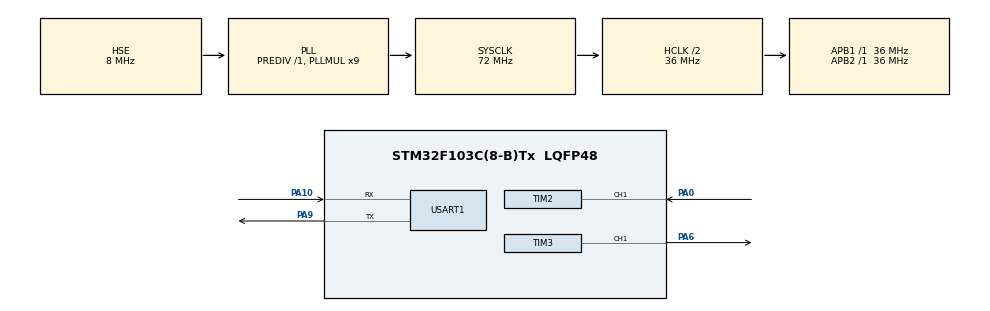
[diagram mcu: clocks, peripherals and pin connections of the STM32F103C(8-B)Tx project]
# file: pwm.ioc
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Mcu.Family=STM32F1
Mcu.Name=STM32F103C(8-B)Tx
Mcu.Package=LQFP48
NVIC.PriorityGroup=NVIC_PRIORITYGROUP_4
NVIC.TIM2_IRQn=true\:0\:0\:false\:false\:true\:true\:true\:true
PA0-WKUP.Signal=S_TIM2_CH1_ETR
PA10.Mode=Asynchronous
PA10.Signal=USART1_RX
PA13.Mode=Serial_Wire
PA13.Signal=SYS_JTMS-SWDIO
PA14.Mode=Serial_Wire
PA14.Signal=SYS_JTCK-SWCLK
PA6.Signal=S_TIM3_CH1
PA9.Mode=Asynchronous
PA9.Signal=USART1_TX
PD0-OSC_IN.Mode=HSE-External-Oscillator
PD0-OSC_IN.Signal=RCC_OSC_IN
PD1-OSC_OUT.Mode=HSE-External-Oscillator
PD1-OSC_OUT.Signal=RCC_OSC_OUT
ProjectManager.HeapSize=0x200
ProjectManager.StackSize=0x400
ProjectManager.TargetToolchain=STM32CubeIDE
RCC.AHBCLKDivider=RCC_SYSCLK_DIV2
RCC.AHBFreq_Value=36000000
RCC.APB1Freq_Value=36000000
RCC.APB1TimFreq_Value=36000000
RCC.APB2Freq_Value=36000000
RCC.APB2TimFreq_Value=36000000
RCC.HCLKFreq_Value=36000000
RCC.PLLMUL=RCC_PLL_MUL9
RCC.PLLSourceVirtual=RCC_PLLSOURCE_HSE
RCC.SYSCLKFreq_VALUE=72000000
RCC.SYSCLKSource=RCC_SYSCLKSOURCE_PLLCLK
RCC.USBFreq_Value=72000000
SH.S_TIM2_CH1_ETR.0=TIM2_CH1,Input_Capture1_from_TI1
SH.S_TIM2_CH1_ETR.1=TIM2_CH1,TriggerSource_TI1FP1
SH.S_TIM3_CH1.0=TIM3_CH1,PWM Generation1 CH1
TIM2.Channel-Input_Capture1_from_TI1=TIM_CHANNEL_1
TIM2.Channel-Input_Capture2_from_TI1_63=TIM_CHANNEL_2
TIM2.ICPolarity_CH2=TIM_INPUTCHANNELPOLARITY_FALLING
TIM2.Period=65535
TIM2.Prescaler=71
TIM3.Channel-PWM\ Generation1\ CH1=TIM_CHANNEL_1
TIM3.Period=999
TIM3.Prescaler=71
TIM3.Pulse-PWM\ Generation1\ CH1=500
USART1.VirtualMode=VM_ASYNC
VP_TIM2_VS_ClockSourceINT.Mode=Internal
VP_TIM2_VS_ControllerModeReset.Mode=Reset Mode
VP_TIM2_VS_indirect_ch1.Mode=Input_Capture2_from_TI1_63
VP_TIM3_VS_ClockSourceINT.Mode=Internal
board=custom

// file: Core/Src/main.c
/* USER CODE BEGIN Header */
/**
  ******************************************************************************
  * @file           : main.c
  * @brief          : Main program body
  ******************************************************************************
  * @attention
  *
  * Copyright (c) 2025 STMicroelectronics.
  * All rights reserved.
  *
  * This software is licensed under terms that can be found in the LICENSE file
  * in the root directory of this software component.
  * If no LICENSE file comes with this software, it is provided AS-IS.
  *
  ******************************************************************************
  */
/* USER CODE END Header */
#include "main.h"

/* USER CODE BEGIN Includes */
#include <stdio.h>
/* USER CODE END Includes */

TIM_HandleTypeDef htim2;
TIM_HandleTypeDef htim3;

UART_HandleTypeDef huart1;

void SystemClock_Config(void);
static void MX_GPIO_Init(void);
static void MX_TIM2_Init(void);
static void MX_TIM3_Init(void);
static void MX_USART1_UART_Init(void);

/* USER CODE BEGIN 0 */
#ifdef __GNUC__
  /* With GCC, small printf (option LD Linker->Libraries->Small printf
     set to 'Yes') calls __io_putchar() */
  #define PUTCHAR_PROTOTYPE int __io_putchar(int ch)
#else
  #define PUTCHAR_PROTOTYPE int fputc(int ch, FILE *f)
#endif /* __GNUC__ */
PUTCHAR_PROTOTYPE
{
  HAL_UART_Transmit(&huart1, (uint8_t *)&ch, 1, HAL_MAX_DELAY);
  return ch;
}

/* USER CODE END 0 */

int main(void)
{

  /* MCU Configuration--------------------------------------------------------*/

  /* Reset of all peripherals, Initializes the Flash interface and the Systick. */
  HAL_Init();

  /* Configure the system clock */
  SystemClock_Config();

  /* Initialize all configured peripherals */
  MX_GPIO_Init();
  MX_TIM2_Init();
  MX_TIM3_Init();
  MX_USART1_UART_Init();
  /* USER CODE BEGIN 2 */

  __HAL_TIM_SET_COMPARE(&htim3, TIM_CHANNEL_1, 100);
  /* USER CODE END 2 */

  /* Infinite loop */
  /* USER CODE BEGIN WHILE */
  printf("start\r\n");
  uint32_t periodCounts = 0;
  uint32_t pulseCounts = 0;
  while (1)
  {

    HAL_Delay(1000);
    periodCounts = HAL_TIM_ReadCapturedValue(&htim2, TIM_CHANNEL_1) + 1;
    pulseCounts = HAL_TIM_ReadCapturedValue(&htim2, TIM_CHANNEL_2) + 1;
    printf("%u\r\n", periodCounts);
    printf("%u\r\n", pulseCounts);
    /* USER CODE END WHILE */

  }
}

void SystemClock_Config(void)
{
  RCC_OscInitTypeDef RCC_OscInitStruct = {0};
  RCC_ClkInitTypeDef RCC_ClkInitStruct = {0};

  /** Initializes the RCC Oscillators according to the specified parameters
  * in the RCC_OscInitTypeDef structure.
  */
  RCC_OscInitStruct.OscillatorType = RCC_OSCILLATORTYPE_HSE;
  RCC_OscInitStruct.HSEState = RCC_HSE_ON;
  RCC_OscInitStruct.HSEPredivValue = RCC_HSE_PREDIV_DIV1;
  RCC_OscInitStruct.HSIState = RCC_HSI_ON;
  RCC_OscInitStruct.PLL.PLLState = RCC_PLL_ON;
  RCC_OscInitStruct.PLL.PLLSource = RCC_PLLSOURCE_HSE;
  RCC_OscInitStruct.PLL.PLLMUL = RCC_PLL_MUL9;
  if (HAL_RCC_OscConfig(&RCC_OscInitStruct) != HAL_OK)
  {
    Error_Handler();
  }

  /** Initializes the CPU, AHB and APB buses clocks
  */
  RCC_ClkInitStruct.ClockType = RCC_CLOCKTYPE_HCLK|RCC_CLOCKTYPE_SYSCLK
                              |RCC_CLOCKTYPE_PCLK1|RCC_CLOCKTYPE_PCLK2;
  RCC_ClkInitStruct.SYSCLKSource = RCC_SYSCLKSOURCE_PLLCLK;
  RCC_ClkInitStruct.AHBCLKDivider = RCC_SYSCLK_DIV2;
  RCC_ClkInitStruct.APB1CLKDivider = RCC_HCLK_DIV1;
  RCC_ClkInitStruct.APB2CLKDivider = RCC_HCLK_DIV1;

  if (HAL_RCC_ClockConfig(&RCC_ClkInitStruct, FLASH_LATENCY_2) != HAL_OK)
  {
    Error_Handler();
  }
}

static void MX_TIM2_Init(void)
{

  TIM_ClockConfigTypeDef sClockSourceConfig = {0};
  TIM_SlaveConfigTypeDef sSlaveConfig = {0};
  TIM_MasterConfigTypeDef sMasterConfig = {0};
  TIM_IC_InitTypeDef sConfigIC = {0};

  htim2.Instance = TIM2;
  htim2.Init.Prescaler = 71;
  htim2.Init.CounterMode = TIM_COUNTERMODE_UP;
  htim2.Init.Period = 65535;
  htim2.Init.ClockDivision = TIM_CLOCKDIVISION_DIV1;
  htim2.Init.AutoReloadPreload = TIM_AUTORELOAD_PRELOAD_DISABLE;
  if (HAL_TIM_Base_Init(&htim2) != HAL_OK)
  {
    Error_Handler();
  }
  sClockSourceConfig.ClockSource = TIM_CLOCKSOURCE_INTERNAL;
  if (HAL_TIM_ConfigClockSource(&htim2, &sClockSourceConfig) != HAL_OK)
  {
    Error_Handler();
  }
  if (HAL_TIM_IC_Init(&htim2) != HAL_OK)
  {
    Error_Handler();
  }
  sSlaveConfig.SlaveMode = TIM_SLAVEMODE_RESET;
  sSlaveConfig.InputTrigger = TIM_TS_TI1FP1;
  sSlaveConfig.TriggerPolarity = TIM_INPUTCHANNELPOLARITY_RISING;
  sSlaveConfig.TriggerFilter = 0;
  if (HAL_TIM_SlaveConfigSynchro(&htim2, &sSlaveConfig) != HAL_OK)
  {
    Error_Handler();
  }
  sMasterConfig.MasterOutputTrigger = TIM_TRGO_RESET;
  sMasterConfig.MasterSlaveMode = TIM_MASTERSLAVEMODE_DISABLE;
  if (HAL_TIMEx_MasterConfigSynchronization(&htim2, &sMasterConfig) != HAL_OK)
  {
    Error_Handler();
  }
  sConfigIC.ICPolarity = TIM_INPUTCHANNELPOLARITY_RISING;
  sConfigIC.ICSelection = TIM_ICSELECTION_DIRECTTI;
  sConfigIC.ICPrescaler = TIM_ICPSC_DIV1;
  sConfigIC.ICFilter = 0;
  if (HAL_TIM_IC_ConfigChannel(&htim2, &sConfigIC, TIM_CHANNEL_1) != HAL_OK)
  {
    Error_Handler();
  }
  sConfigIC.ICPolarity = TIM_INPUTCHANNELPOLARITY_FALLING;
  sConfigIC.ICSelection = TIM_ICSELECTION_INDIRECTTI;
  if (HAL_TIM_IC_ConfigChannel(&htim2, &sConfigIC, TIM_CHANNEL_2) != HAL_OK)
  {
    Error_Handler();
  }
  /* USER CODE BEGIN TIM2_Init 2 */
  HAL_TIM_IC_Start_IT(&htim2, TIM_CHANNEL_1);
  HAL_TIM_IC_Start_IT(&htim2, TIM_CHANNEL_2);

  /* USER CODE END TIM2_Init 2 */

}

static void MX_TIM3_Init(void)
{

  TIM_ClockConfigTypeDef sClockSourceConfig = {0};
  TIM_MasterConfigTypeDef sMasterConfig = {0};
  TIM_OC_InitTypeDef sConfigOC = {0};

  htim3.Instance = TIM3;
  htim3.Init.Prescaler = 71;
  htim3.Init.CounterMode = TIM_COUNTERMODE_UP;
  htim3.Init.Period = 999;
  htim3.Init.ClockDivision = TIM_CLOCKDIVISION_DIV1;
  htim3.Init.AutoReloadPreload = TIM_AUTORELOAD_PRELOAD_DISABLE;
  if (HAL_TIM_Base_Init(&htim3) != HAL_OK)
  {
    Error_Handler();
  }
  sClockSourceConfig.ClockSource = TIM_CLOCKSOURCE_INTERNAL;
  if (HAL_TIM_ConfigClockSource(&htim3, &sClockSourceConfig) != HAL_OK)
  {
    Error_Handler();
  }
  if (HAL_TIM_PWM_Init(&htim3) != HAL_OK)
  {
    Error_Handler();
  }
  sMasterConfig.MasterOutputTrigger = TIM_TRGO_RESET;
  sMasterConfig.MasterSlaveMode = TIM_MASTERSLAVEMODE_DISABLE;
  if (HAL_TIMEx_MasterConfigSynchronization(&htim3, &sMasterConfig) != HAL_OK)
  {
    Error_Handler();
  }
  sConfigOC.OCMode = TIM_OCMODE_PWM1;
  sConfigOC.Pulse = 500;
  sConfigOC.OCPolarity = TIM_OCPOLARITY_HIGH;
  sConfigOC.OCFastMode = TIM_OCFAST_DISABLE;
  if (HAL_TIM_PWM_ConfigChannel(&htim3, &sConfigOC, TIM_CHANNEL_1) != HAL_OK)
  {
    Error_Handler();
  }
  /* USER CODE BEGIN TIM3_Init 2 */
   HAL_TIM_PWM_Start(&htim3, TIM_CHANNEL_1);
  /* USER CODE END TIM3_Init 2 */
  HAL_TIM_MspPostInit(&htim3);

}

static void MX_USART1_UART_Init(void)
{

  huart1.Instance = USART1;
  huart1.Init.BaudRate = 115200;
  huart1.Init.WordLength = UART_WORDLENGTH_8B;
  huart1.Init.StopBits = UART_STOPBITS_1;
  huart1.Init.Parity = UART_PARITY_NONE;
  huart1.Init.Mode = UART_MODE_TX_RX;
  huart1.Init.HwFlowCtl = UART_HWCONTROL_NONE;
  huart1.Init.OverSampling = UART_OVERSAMPLING_16;
  if (HAL_UART_Init(&huart1) != HAL_OK)
  {
    Error_Handler();
  }

}

static void MX_GPIO_Init(void)
{

  /* GPIO Ports Clock Enable */
  __HAL_RCC_GPIOD_CLK_ENABLE();
  __HAL_RCC_GPIOA_CLK_ENABLE();

}

void Error_Handler(void)
{
  __disable_irq();
  while (1)
  {
  }
}
